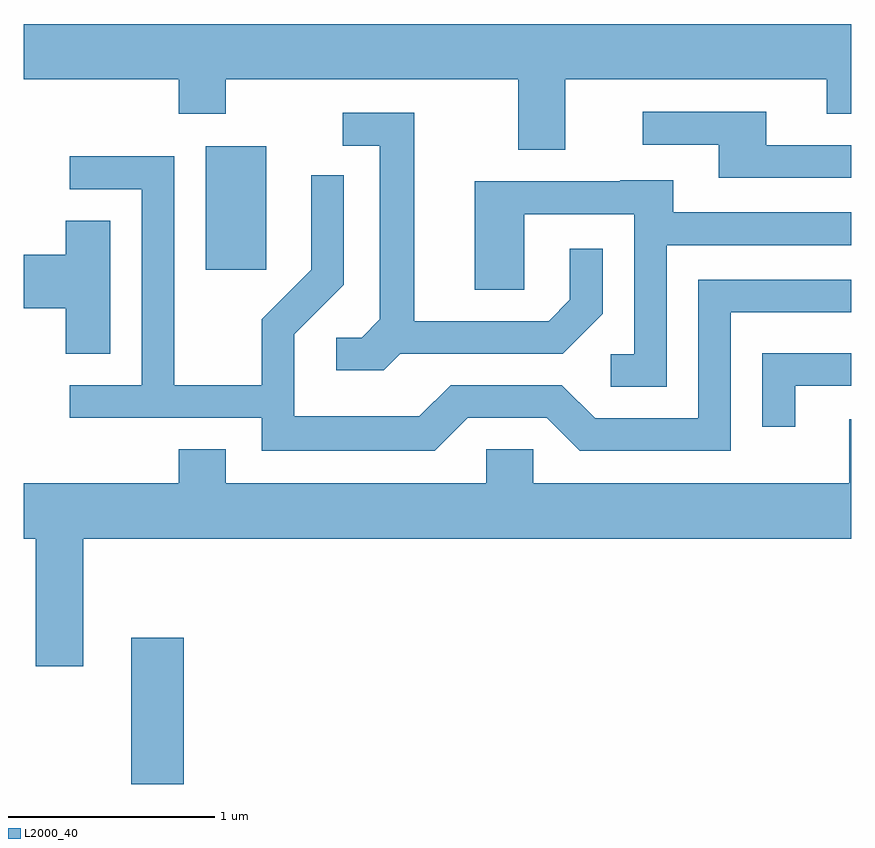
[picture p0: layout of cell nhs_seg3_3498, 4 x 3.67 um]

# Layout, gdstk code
import gdstk
lib = gdstk.Library(unit=1e-6, precision=1e-09)
def R(c, l, rs):  # rectangles x0, y0, x1, y1
    for r in rs: c.add(gdstk.rectangle(r[:2], r[2:], *l))
def P(c, l, *ps):  # polygons
    for p in ps: c.add(gdstk.Polygon(p, *l))
L2000_40 = (2000, 40)

nhs_seg3_3498 = lib.new_cell('nhs_seg3_3498')
R(nhs_seg3_3498, L2000_40, [(288.131,1175.892,288.384,1176.599), (288.491,1178.376,288.784,1178.974)])
P(nhs_seg3_3498, L2000_40, [(290.229,1179.296),(291.491,1179.296),(291.491,1179.131),(291.611,1179.131),(291.611,1179.564),(287.611,1179.564),(287.611,1179.296),(288.361,1179.296),(288.361,1179.131),(288.589,1179.131),(288.589,1179.296),(290.001,1179.296),(290.001,1178.956),(290.229,1178.956)],
  [(291.611,1178.979),(291.199,1178.979),(291.199,1179.139),(290.603,1179.139),(290.603,1178.981),(290.971,1178.981),(290.971,1178.821),(291.611,1178.821)],
  [(289.432,1177.971),(290.217,1177.971),(290.409,1178.164),(290.409,1178.478),(290.251,1178.478),(290.251,1178.232),(290.149,1178.129),(289.499,1178.129),(289.499,1179.134),(289.153,1179.134),(289.153,1178.976),(289.331,1178.976),(289.331,1178.137),(289.244,1178.049),(289.123,1178.049),(289.123,1177.891),(289.352,1177.891)],
  [(289.757,1177.661),(290.139,1177.661),(290.299,1177.501),(291.029,1177.501),(291.029,1178.171),(291.611,1178.171),(291.611,1178.329),(290.871,1178.329),(290.871,1177.659),(290.372,1177.659),(290.212,1177.819),(289.674,1177.819),(289.524,1177.669),(288.919,1177.669),(288.919,1178.064),(289.159,1178.304),(289.159,1178.833),(289.001,1178.833),(289.001,1178.377),(288.761,1178.137),(288.761,1177.819),(288.339,1177.819),(288.339,1178.924),(287.833,1178.924),(287.833,1178.766),(288.181,1178.766),(288.181,1177.819),(287.833,1177.819),(287.833,1177.661),(288.761,1177.661),(288.761,1177.501),(289.597,1177.501)],
  [(290.719,1178.496),(291.611,1178.496),(291.611,1178.654),(290.749,1178.654),(290.749,1178.809),(290.495,1178.809),(290.495,1178.804),(289.791,1178.804),(289.791,1178.281),(290.029,1178.281),(290.029,1178.646),(290.561,1178.646),(290.561,1177.969),(290.448,1177.969),(290.448,1177.811),(290.719,1177.811)],
  [(288.029,1178.614),(287.816,1178.614),(287.816,1178.449),(287.611,1178.449),(287.611,1178.191),(287.816,1178.191),(287.816,1177.971),(288.029,1177.971)],
  [(291.339,1177.816),(291.611,1177.816),(291.611,1177.974),(291.181,1177.974),(291.181,1177.618),(291.339,1177.618)],
  [(287.899,1177.076),(291.611,1177.076),(291.611,1177.654),(291.601,1177.654),(291.601,1177.344),(290.074,1177.344),(290.074,1177.509),(289.846,1177.509),(289.846,1177.344),(288.589,1177.344),(288.589,1177.509),(288.361,1177.509),(288.361,1177.344),(287.611,1177.344),(287.611,1177.076),(287.671,1177.076),(287.671,1176.461),(287.899,1176.461)])

lib.write_gds('nhs_seg3_3498.gds')
